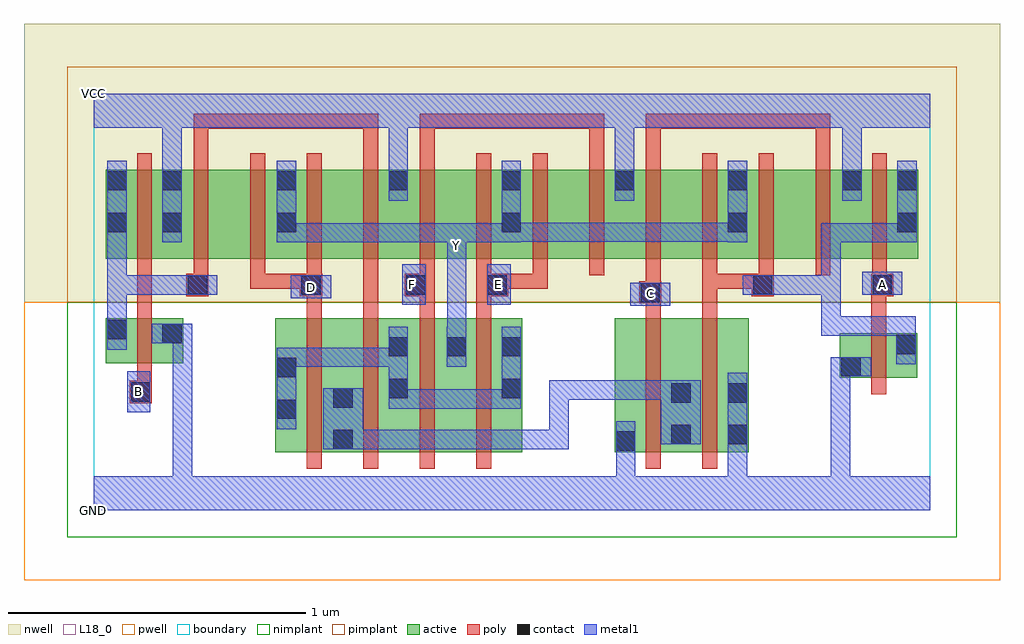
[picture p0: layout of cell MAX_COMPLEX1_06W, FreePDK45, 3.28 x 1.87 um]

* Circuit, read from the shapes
.subckt MAX_COMPLEX1_06W A B C D E F GND VCC Y
M1 GND B n1 VSUBS nfet w=0.15u l=0.05u
M2 n2 D n3 VSUBS nfet w=0.45u l=0.05u
M3 n3 n1 n2 VSUBS nfet w=0.45u l=0.05u
M4 Y F n3 VSUBS nfet w=0.45u l=0.05u
M5 n3 E Y VSUBS nfet w=0.45u l=0.05u
M6 n2 C GND VSUBS nfet w=0.45u l=0.05u
M7 GND n4 n2 VSUBS nfet w=0.45u l=0.05u
M8 n4 A GND VSUBS nfet w=0.15u l=0.05u
M9 VCC B n1 n5 pfet w=0.3u l=0.05u
M10 n6 n1 VCC n5 pfet w=0.3u l=0.05u
M11 Y D n6 n5 pfet w=0.3u l=0.05u
M12 n7 D Y n5 pfet w=0.3u l=0.05u
M13 VCC n1 n7 n5 pfet w=0.3u l=0.05u
M14 n8 F VCC n5 pfet w=0.3u l=0.05u
M15 Y E n8 n5 pfet w=0.3u l=0.05u
M16 n9 E Y n5 pfet w=0.3u l=0.05u
M17 VCC F n9 n5 pfet w=0.3u l=0.05u
M18 n10 C VCC n5 pfet w=0.3u l=0.05u
M19 Y n4 n10 n5 pfet w=0.3u l=0.05u
M20 n11 n4 Y n5 pfet w=0.3u l=0.05u
M21 VCC C n11 n5 pfet w=0.3u l=0.05u
M22 n4 A VCC n5 pfet w=0.3u l=0.05u
.ends

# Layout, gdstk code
import gdstk
lib = gdstk.Library(unit=1e-6, precision=1e-09)
def R(c, l, rs):  # rectangles x0, y0, x1, y1
    for r in rs: c.add(gdstk.rectangle(r[:2], r[2:], *l))
def A(c, l, x, y, w, h, nx, ny, dx, dy):  # array of equal rectangles
    R(c, l, [(x+i*dx, y+j*dy, x+i*dx+w, y+j*dy+h) for i in range(nx) for j in range(ny)])
active = (1, 0)
pwell = (2, 0)
nwell = (3, 0)
nimplant = (4, 0)
pimplant = (5, 0)
poly = (9, 0)
contact = (10, 0)
metal1 = (11, 0)
L18_0 = (18, 0)
boundary = (235, 0)

max_complex1_06w = lib.new_cell('MAX_COMPLEX1_06W')
A(max_complex1_06w, active, 0.835, 0.845, 0.225, 0.3, 4, 1, 0.38, 0)
A(max_complex1_06w, active, 0.985, 0.845, 0.23, 0.3, 4, 1, 0.38, 0)
R(max_complex1_06w, active, [(0.61,0.195,0.685,0.645), (0.61,0.195,0.875,0.645), (0.8,0.195,0.875,0.542), (0.8,0.195,1.06,0.645), (0.985,0.195,1.255,0.645), (0.985,0.195,1.06,0.587), (1.18,0.195,1.255,0.645), (1.18,0.195,1.44,0.645), (1.365,0.195,1.44,0.645), (1.75,0.195,1.825,0.645), (1.75,0.195,2.01,0.645), (1.935,0.195,2.2,0.645), (1.935,0.195,2.01,0.542), (2.125,0.195,2.2,0.645), (2.507,0.445,2.582,0.595), (2.507,0.445,2.767,0.595), (2.692,0.445,2.767,0.595), (0.04,0.495,0.115,0.645), (0.04,0.495,0.3,0.645), (0.225,0.495,0.3,0.645), (0.04,0.845,0.115,1.145), (0.04,0.845,0.3,1.145), (0.225,0.845,0.3,1.145), (0.225,0.845,0.455,1.145), (0.455,0.845,0.685,1.145), (0.61,0.845,0.685,1.145), (0.61,0.845,0.835,1.145), (1.365,0.845,1.44,1.145), (2.125,0.845,2.2,1.145), (2.355,0.845,2.585,1.145), (2.51,0.845,2.585,1.145), (2.51,0.845,2.77,1.145), (2.695,0.845,2.77,1.145), (1.745,0.852,1.82,1.145), (0.985,0.887,1.06,1.145)])
R(max_complex1_06w, pwell, [(-0.235,-0.235,3.045,0.7)])
R(max_complex1_06w, nwell, [(-0.235,0.7,3.045,1.635)])
R(max_complex1_06w, nimplant, [(-0.09,-0.09,2.9,0.7)])
R(max_complex1_06w, pimplant, [(-0.09,0.7,2.9,1.49)])
A(max_complex1_06w, poly, 0.715, 0.14, 0.05, 0.56, 4, 1, 0.19, 0)
A(max_complex1_06w, poly, 0.335, 0.745, 0.05, 0.095, 3, 1, 0.19, 0)
A(max_complex1_06w, poly, 1.095, 0.745, 0.05, 0.095, 3, 1, 0.19, 0)
A(max_complex1_06w, poly, 0.145, 0.79, 0.05, 0.41, 14, 1, 0.19, 0)
A(max_complex1_06w, poly, 0.772, 1.282, 0.183, 0.05, 3, 1, 0.76, 0)
R(max_complex1_06w, poly, [(1.855,0.14,1.905,0.7), (2.045,0.14,2.095,0.7), (0.12,0.36,0.195,0.435), (0.145,0.385,0.195,0.49), (2.612,0.39,2.662,0.65), (0.145,0.44,0.195,0.7), (2.612,0.6,2.662,0.77), (0.145,0.65,0.195,0.745), (0.715,0.65,0.765,0.77), (0.905,0.65,0.955,0.745), (1.095,0.65,1.145,0.77), (1.285,0.65,1.335,0.77), (1.855,0.65,1.905,0.745), (2.045,0.65,2.095,0.795), (0.145,0.695,0.195,0.745), (0.145,0.695,0.195,0.84), (0.905,0.695,0.955,0.745), (0.905,0.695,0.955,0.84), (1.832,0.695,1.907,0.77), (0.31,0.72,0.385,0.795), (0.692,0.72,0.767,0.795), (1.045,0.72,1.145,0.795), (1.285,0.72,1.392,0.795), (1.855,0.72,1.905,0.84), (2.21,0.72,2.285,0.795), (2.612,0.72,2.687,0.795), (0.525,0.745,0.575,0.795), (0.525,0.745,0.575,0.795), (0.525,0.745,0.575,0.795), (0.525,0.745,0.742,0.795), (1.342,0.745,1.525,0.795), (1.475,0.745,1.525,0.795), (1.475,0.745,1.525,0.795), (1.475,0.745,1.525,0.795), (2.045,0.745,2.095,0.84), (2.045,0.745,2.095,0.795), (2.045,0.745,2.095,0.795), (2.045,0.745,2.095,0.795), (2.045,0.745,2.26,0.795), (2.235,0.745,2.285,0.84), (2.615,0.745,2.665,0.84), (0.335,1.15,0.385,1.332), (0.905,1.15,0.955,1.332), (1.095,1.15,1.145,1.332), (1.665,1.15,1.715,1.332), (1.855,1.15,1.905,1.332), (2.425,1.15,2.475,1.332), (0.335,1.282,0.385,1.332), (0.335,1.282,0.385,1.332), (0.335,1.282,0.385,1.332), (0.335,1.282,0.585,1.332), (0.535,1.282,0.585,1.332), (0.535,1.282,0.822,1.332), (0.772,1.282,0.822,1.332), (0.772,1.282,0.822,1.332), (0.772,1.282,0.822,1.332), (0.905,1.282,0.955,1.332), (0.905,1.282,0.955,1.332), (0.905,1.282,0.955,1.332), (1.095,1.282,1.145,1.332), (1.095,1.282,1.145,1.332), (1.095,1.282,1.145,1.332), (1.095,1.282,1.392,1.332), (1.342,1.282,1.392,1.332), (1.342,1.282,1.392,1.332), (1.342,1.282,1.392,1.332), (1.342,1.282,1.582,1.332), (1.532,1.282,1.582,1.332), (1.665,1.282,1.715,1.332), (1.665,1.282,1.715,1.332), (1.665,1.282,1.715,1.332), (1.855,1.282,1.905,1.332), (1.855,1.282,1.905,1.332), (1.855,1.282,1.905,1.332), (1.855,1.282,2.127,1.332), (2.077,1.282,2.127,1.332), (2.077,1.282,2.127,1.332), (2.077,1.282,2.127,1.332), (2.077,1.282,2.342,1.332), (2.292,1.282,2.342,1.332), (2.425,1.282,2.475,1.332), (2.425,1.282,2.475,1.332), (2.425,1.282,2.475,1.332)])
A(max_complex1_06w, contact, 0.99, 1.075, 0.065, 0.065, 4, 1, 0.38, 0)
R(max_complex1_06w, contact, [(1.755,0.2,1.82,0.265), (0.805,0.205,0.87,0.27), (1.94,0.222,2.005,0.287), (2.13,0.222,2.195,0.287), (0.615,0.307,0.68,0.372), (0.805,0.345,0.87,0.41), (1.94,0.362,2.005,0.427), (2.13,0.362,2.195,0.427), (0.125,0.365,0.19,0.43), (0.99,0.377,1.055,0.442), (1.37,0.377,1.435,0.442), (0.615,0.447,0.68,0.512), (2.512,0.45,2.577,0.515), (0.99,0.517,1.055,0.582), (1.185,0.517,1.25,0.582), (1.37,0.517,1.435,0.582), (2.697,0.525,2.762,0.59), (0.23,0.562,0.295,0.627), (0.045,0.575,0.11,0.64), (1.837,0.7,1.902,0.765), (0.315,0.725,0.38,0.79), (0.697,0.725,0.762,0.79), (1.05,0.725,1.115,0.79), (1.322,0.725,1.387,0.79), (2.215,0.725,2.28,0.79), (2.617,0.725,2.682,0.79), (0.045,0.935,0.11,1), (0.23,0.935,0.295,1), (0.615,0.935,0.68,1), (1.37,0.935,1.435,1), (2.13,0.935,2.195,1), (2.7,0.935,2.765,1), (0.045,1.075,0.11,1.14), (0.23,1.075,0.295,1.14), (0.615,1.075,0.68,1.14), (2.515,1.075,2.58,1.14), (2.7,1.075,2.765,1.14)])
A(max_complex1_06w, metal1, 0.23, 1.11, 0.065, 0.24, 3, 1, 0.76, 0)
R(max_complex1_06w, metal1, [(0,0,2.81,0.115), (0.265,0.05,0.33,0.115), (0.265,0.05,0.33,0.115), (0.265,0.05,0.33,0.115), (0.265,0.05,0.33,0.115), (0.265,0.05,0.33,0.115), (0.265,0.05,0.33,0.115), (0.265,0.05,0.33,0.627), (1.755,0.05,1.82,0.115), (1.755,0.05,1.82,0.115), (1.755,0.05,1.82,0.23), (2.13,0.05,2.195,0.252), (2.477,0.05,2.542,0.115), (2.477,0.05,2.542,0.115), (2.477,0.05,2.542,0.115), (2.477,0.05,2.542,0.115), (2.477,0.05,2.542,0.515), (1.755,0.165,1.82,0.3), (2.13,0.187,2.195,0.252), (2.13,0.187,2.195,0.252), (2.13,0.187,2.195,0.462), (0.77,0.205,0.905,0.41), (0.84,0.205,0.905,0.27), (0.84,0.205,0.905,0.27), (0.84,0.205,1.112,0.27), (1.047,0.205,1.112,0.27), (1.047,0.205,1.112,0.27), (1.047,0.205,1.112,0.27), (1.047,0.205,1.297,0.27), (1.232,0.205,1.297,0.27), (1.232,0.205,1.297,0.27), (1.232,0.205,1.297,0.27), (1.232,0.205,1.457,0.27), (1.392,0.205,1.457,0.27), (1.392,0.205,1.457,0.27), (1.392,0.205,1.457,0.27), (1.392,0.205,1.595,0.27), (1.53,0.205,1.595,0.27), (1.53,0.205,1.595,0.27), (1.53,0.205,1.595,0.27), (1.53,0.205,1.595,0.437), (1.905,0.222,2.04,0.437), (0.615,0.272,0.68,0.547), (0.112,0.33,0.19,0.467), (0.99,0.342,1.055,0.407), (0.99,0.342,1.055,0.407), (0.99,0.342,1.055,0.407), (0.99,0.342,1.055,0.407), (0.99,0.342,1.055,0.617), (0.99,0.342,1.297,0.407), (1.232,0.342,1.297,0.407), (1.232,0.342,1.297,0.407), (1.232,0.342,1.297,0.407), (1.232,0.342,1.435,0.407), (1.37,0.342,1.435,0.617), (1.53,0.372,1.595,0.437), (1.53,0.372,1.595,0.437), (1.53,0.372,1.595,0.437), (1.53,0.372,1.79,0.437), (1.725,0.372,1.79,0.437), (1.725,0.372,1.79,0.437), (1.725,0.372,1.79,0.437), (1.725,0.372,1.97,0.437), (2.477,0.45,2.542,0.515), (2.477,0.45,2.542,0.515), (2.477,0.45,2.612,0.515), (0.615,0.482,0.68,0.547), (0.615,0.482,0.68,0.547), (0.615,0.482,0.905,0.547), (0.84,0.482,0.905,0.547), (0.84,0.482,0.905,0.547), (0.84,0.482,0.905,0.547), (0.84,0.482,1.055,0.547), (1.185,0.482,1.252,0.617), (2.697,0.49,2.762,0.625), (0.045,0.54,0.11,0.675), (1.187,0.552,1.252,0.887), (2.697,0.56,2.762,0.625), (2.697,0.56,2.762,0.652), (0.195,0.562,0.33,0.627), (2.445,0.587,2.51,0.652), (2.445,0.587,2.762,0.652), (2.445,0.587,2.51,0.79), (0.045,0.61,0.11,0.79), (1.802,0.687,1.937,0.765), (1.037,0.69,1.115,0.827), (1.322,0.69,1.4,0.827), (0.662,0.712,0.797,0.79), (0.045,0.725,0.11,0.79), (0.045,0.725,0.11,0.79), (0.045,0.725,0.11,0.79), (0.045,0.725,0.11,0.965), (0.045,0.725,0.345,0.79), (0.28,0.725,0.345,0.79), (0.28,0.725,0.345,0.79), (0.28,0.725,0.415,0.79), (2.18,0.725,2.315,0.79), (2.25,0.725,2.315,0.79), (2.25,0.725,2.315,0.79), (2.25,0.725,2.51,0.79), (2.445,0.725,2.51,0.79), (2.445,0.725,2.51,0.79), (2.445,0.725,2.51,0.79), (2.445,0.725,2.51,0.965), (2.582,0.725,2.717,0.802), (1.187,0.822,1.252,0.965), (0.045,0.9,0.11,1.175), (0.23,0.9,0.295,1.175), (0.615,0.9,0.68,0.965), (0.615,0.9,0.68,0.965), (0.615,0.9,0.68,1.175), (0.615,0.9,0.917,0.965), (0.852,0.9,0.917,0.965), (0.852,0.9,0.917,0.965), (0.852,0.9,0.917,0.965), (0.852,0.9,1.065,0.965), (1,0.9,1.065,0.965), (1,0.9,1.065,0.965), (1,0.9,1.065,0.965), (1,0.9,1.252,0.965), (1.187,0.9,1.252,0.965), (1.187,0.9,1.252,0.965), (1.187,0.9,1.252,0.965), (1.187,0.9,1.252,0.965), (1.187,0.9,1.435,0.965), (1.37,0.9,1.435,1.175), (2.13,0.9,2.195,1.175), (2.445,0.9,2.51,0.965), (2.445,0.9,2.765,0.965), (2.7,0.9,2.765,0.965), (2.7,0.9,2.765,0.965), (2.7,0.9,2.765,1.175), (1.37,0.902,1.435,0.967), (1.37,0.902,1.435,0.967), (1.37,0.902,1.595,0.967), (1.53,0.902,1.595,0.967), (1.53,0.902,1.595,0.967), (1.53,0.902,1.595,0.967), (1.53,0.902,1.775,0.967), (1.71,0.902,1.775,0.967), (1.71,0.902,1.775,0.967), (1.71,0.902,1.775,0.967), (1.71,0.902,1.927,0.967), (1.862,0.902,1.927,0.967), (1.862,0.902,1.927,0.967), (1.862,0.902,1.927,0.967), (1.862,0.902,2.195,0.967), (0.99,1.04,1.055,1.175), (1.75,1.04,1.815,1.175), (2.515,1.04,2.58,1.175), (0.23,1.11,0.295,1.175), (0.23,1.11,0.295,1.175), (1.75,1.11,1.815,1.175), (1.75,1.11,1.815,1.175), (2.515,1.11,2.58,1.35), (0,1.285,2.81,1.4), (0.99,1.285,1.055,1.35), (0.99,1.285,1.055,1.35), (2.515,1.285,2.58,1.35), (2.515,1.285,2.58,1.35)])
A(max_complex1_06w, L18_0, 0.23, 1.11, 0.065, 0.24, 3, 1, 0.76, 0)
R(max_complex1_06w, L18_0, [(0,0,2.81,0.115), (0.265,0.05,0.33,0.115), (0.265,0.05,0.33,0.115), (0.265,0.05,0.33,0.115), (0.265,0.05,0.33,0.115), (0.265,0.05,0.33,0.115), (0.265,0.05,0.33,0.115), (0.265,0.05,0.33,0.627), (1.755,0.05,1.82,0.115), (1.755,0.05,1.82,0.115), (1.755,0.05,1.82,0.23), (2.13,0.05,2.195,0.252), (2.477,0.05,2.542,0.115), (2.477,0.05,2.542,0.115), (2.477,0.05,2.542,0.115), (2.477,0.05,2.542,0.115), (2.477,0.05,2.542,0.515), (1.755,0.165,1.82,0.3), (2.13,0.187,2.195,0.252), (2.13,0.187,2.195,0.252), (2.13,0.187,2.195,0.462), (0.112,0.33,0.19,0.467), (0.117,0.367,0.182,0.432), (2.477,0.45,2.542,0.515), (2.477,0.45,2.542,0.515), (2.477,0.45,2.612,0.515), (1.185,0.482,1.252,0.617), (1.187,0.552,1.252,0.887), (0.195,0.562,0.33,0.627), (1.802,0.687,1.937,0.765), (1.037,0.69,1.115,0.827), (1.322,0.69,1.4,0.827), (1.837,0.697,1.902,0.762), (0.662,0.712,0.797,0.79), (0.697,0.717,0.762,0.782), (2.582,0.725,2.717,0.802), (1.037,0.727,1.102,0.792), (1.327,0.727,1.392,0.792), (2.617,0.727,2.682,0.792), (1.187,0.822,1.252,0.965), (1.187,0.857,1.252,0.922), (0.23,0.9,0.295,1.175), (0.615,0.9,0.68,0.965), (0.615,0.9,0.68,0.965), (0.615,0.9,0.68,1.175), (0.615,0.9,0.917,0.965), (0.852,0.9,0.917,0.965), (0.852,0.9,0.917,0.965), (0.852,0.9,0.917,0.965), (0.852,0.9,1.065,0.965), (1,0.9,1.065,0.965), (1,0.9,1.065,0.965), (1,0.9,1.065,0.965), (1,0.9,1.252,0.965), (1.187,0.9,1.252,0.965), (1.187,0.9,1.252,0.965), (1.187,0.9,1.252,0.965), (1.187,0.9,1.252,0.965), (1.187,0.9,1.435,0.965), (1.37,0.9,1.435,1.175), (2.13,0.9,2.195,1.175), (1.37,0.902,1.435,0.967), (1.37,0.902,1.435,0.967), (1.37,0.902,1.595,0.967), (1.53,0.902,1.595,0.967), (1.53,0.902,1.595,0.967), (1.53,0.902,1.595,0.967), (1.53,0.902,1.775,0.967), (1.71,0.902,1.775,0.967), (1.71,0.902,1.775,0.967), (1.71,0.902,1.775,0.967), (1.71,0.902,1.927,0.967), (1.862,0.902,1.927,0.967), (1.862,0.902,1.927,0.967), (1.862,0.902,1.927,0.967), (1.862,0.902,2.195,0.967), (0.99,1.04,1.055,1.175), (1.75,1.04,1.815,1.175), (2.515,1.04,2.58,1.175), (0.23,1.11,0.295,1.175), (0.23,1.11,0.295,1.175), (1.75,1.11,1.815,1.175), (1.75,1.11,1.815,1.175), (2.515,1.11,2.58,1.35), (0,1.285,2.81,1.4), (0.99,1.285,1.055,1.35), (0.99,1.285,1.055,1.35), (2.515,1.285,2.58,1.35), (2.515,1.285,2.58,1.35)])
R(max_complex1_06w, boundary, [(0,0,2.81,1.4)])
max_complex1_06w.add(gdstk.Label('A', (2.65,0.76), layer=11, texttype=0))
max_complex1_06w.add(gdstk.Label('B', (0.15,0.4), layer=11, texttype=0))
max_complex1_06w.add(gdstk.Label('C', (1.87,0.73), layer=11, texttype=0))
max_complex1_06w.add(gdstk.Label('D', (0.73,0.75), layer=11, texttype=0))
max_complex1_06w.add(gdstk.Label('E', (1.36,0.76), layer=11, texttype=0))
max_complex1_06w.add(gdstk.Label('F', (1.07,0.76), layer=11, texttype=0))
max_complex1_06w.add(gdstk.Label('Y', (1.22,0.89), layer=11, texttype=0))
max_complex1_06w.add(gdstk.Label('VCC', (0,1.4), layer=11, texttype=0))
max_complex1_06w.add(gdstk.Label('GND', (0,0), layer=11, texttype=0))

lib.write_gds('MAX_COMPLEX1_06W.gds')
